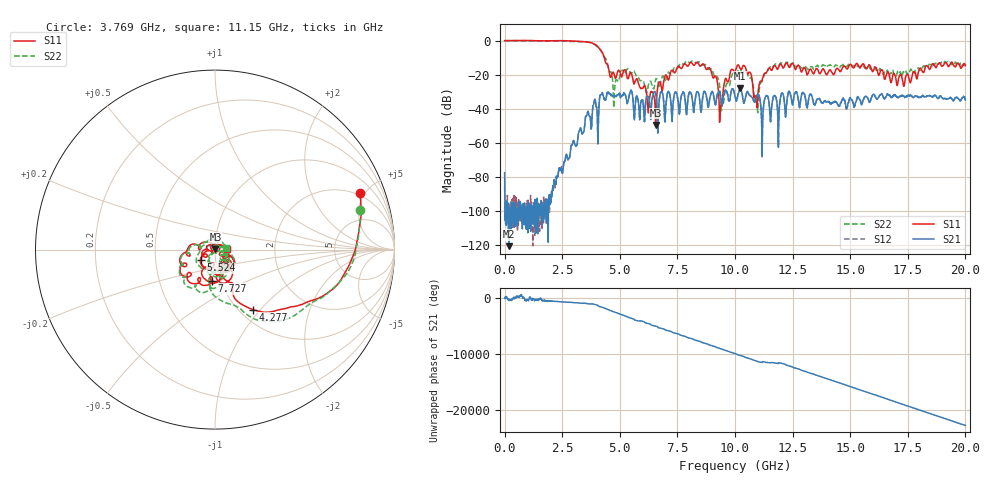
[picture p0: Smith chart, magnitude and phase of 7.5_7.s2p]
#  HZ  S  RI  R  50.00
! Rohde & Schwarz Vector Network Analyzer
! Rohde-Schwarz,ZNB20-2Port,1311601062102128,3.60
! Created: UTC 4/29/2024, 2:54:50 PM
! freq[Hz]  re:S11  im:S11  re:S21  im:S21  re:S12  im:S12  re:S22  im:S22
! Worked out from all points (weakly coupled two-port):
!   2007 points, 100 kHz to 20 GHz, reference 50 ohm
!   highest |S21| = -28.00 dB at 10.22 GHz (marker M1); lowest = -120.5 dB at 199.5 MHz (marker M2)
!   lowest |S11| = -49.5 dB at 6.56 GHz (marker M3), VSWR 1.01, Z = 50.3 + j0.225 ohm
!   |S11| at or under -10 dB: 4.325 GHz to end of sweep
!   |S22| runs from -42.3 to 0.1 dB; largest |S21 - S12| = 0.0024
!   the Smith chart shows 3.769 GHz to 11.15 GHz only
!   S11 on the Smith chart (normalised r, x): 3.769 GHz: 1.80, +4.59; 4.277 GHz: 1.15, -0.91; 5.524 GHz: 0.85, -0.10; 7.727 GHz: 0.91, -0.33; 11.15 GHz: 1.14, +0.00
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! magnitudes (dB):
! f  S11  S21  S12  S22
! 100 kHz  0.0  -77.4  -85.2  0.1
! 199.5 MHz  0.0  -120.5  -96.3  0.0
! 2.223 GHz  -0.1  -84.3  -84.2  -0.3
! 3.34 GHz  -0.6  -53.8  -53.5  -0.6
! 3.769 GHz  -1.2  -51.7  -52.1  -1.5
! 4.277 GHz  -8.1  -32.2  -32.1  -8.4
! 4.776 GHz  -20.9  -32.4  -32.5  -28.2
! 5.524 GHz  -20.1  -30.4  -30.4  -19.0
! 6.56 GHz  -49.5  -31.6  -31.4  -22.6
! 6.67 GHz  -25.6  -45.1  -44.9  -24.8
! 7.727 GHz  -15.2  -30.7  -30.7  -13.7
! 8.893 GHz  -16.1  -34.4  -34.4  -16.8
! 9.382 GHz  -37.8  -33.4  -33.4  -34.0
! 10 GHz  -18.5  -32.4  -32.5  -19.9
! 10.22 GHz  -16.3  -28.0  -28.0  -17.1
! 10.93 GHz  -35.1  -33.1  -33.2  -33.4
! 11.15 GHz  -23.8  -44.5  -44.6  -24.4
! 11.37 GHz  -18.8  -32.2  -32.3  -19.1
! 11.87 GHz  -16.3  -55.0  -55.3  -14.6
! 13.34 GHz  -18.0  -32.7  -32.7  -15.3
! 16.67 GHz  -19.1  -31.9  -31.9  -20.5
! 20 GHz  -14.6  -34.8  -34.8  -14.3
